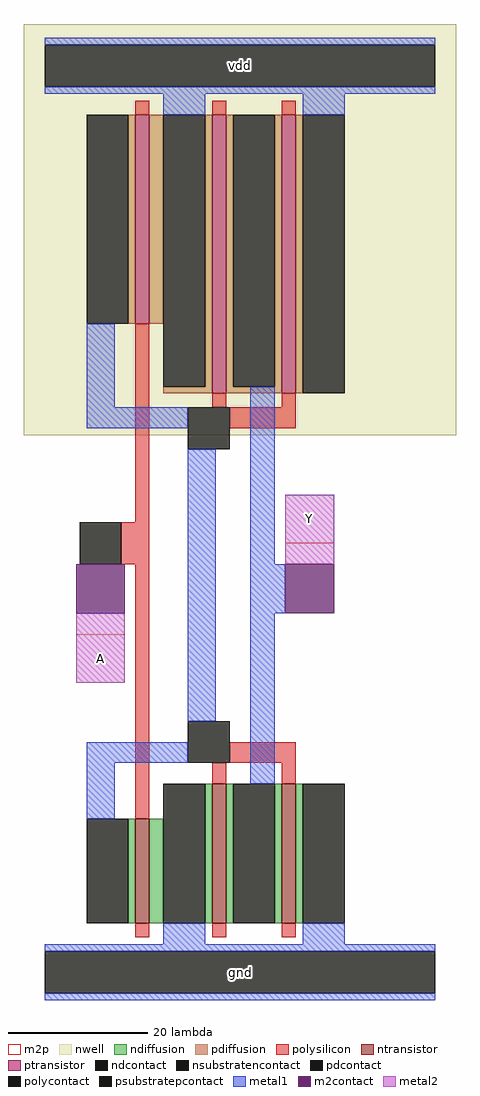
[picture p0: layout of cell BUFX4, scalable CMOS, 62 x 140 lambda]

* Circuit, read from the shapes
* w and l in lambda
.subckt BUFX4 A Y vdd gnd
M1 gnd A n1 gnd nfet w=15 l=2
M2 Y n1 gnd gnd nfet w=20 l=2 m=2
M3 vdd A n1 vdd pfet w=30 l=2
M4 Y n1 vdd vdd pfet w=40 l=2 m=2
.ends

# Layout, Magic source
magic
tech scmos
magscale 1 2
<< nwell >>
rect -12 154 112 272
<< ntransistor >>
rect 20 14 24 44
rect 42 14 46 54
rect 62 14 66 54
<< ptransistor >>
rect 20 186 24 246
rect 42 166 46 246
rect 62 166 66 246
<< ndiffusion >>
rect 18 14 20 44
rect 24 14 28 44
rect 40 14 42 54
rect 46 14 48 54
rect 60 14 62 54
rect 66 14 68 54
<< pdiffusion >>
rect 18 186 20 246
rect 24 186 28 246
rect 40 168 42 246
rect 28 166 42 168
rect 46 168 48 246
rect 60 168 62 246
rect 46 166 62 168
rect 66 166 68 246
<< ndcontact >>
rect 6 14 18 44
rect 28 14 40 54
rect 48 14 60 54
rect 68 14 80 54
<< pdcontact >>
rect 6 186 18 246
rect 28 168 40 246
rect 48 168 60 246
rect 68 166 80 246
<< psubstratepcontact >>
rect -6 -6 106 6
<< nsubstratencontact >>
rect -6 254 106 266
<< polysilicon >>
rect 20 246 24 250
rect 42 246 46 250
rect 62 246 66 250
rect 20 129 24 186
rect 42 162 46 166
rect 62 162 66 166
rect 47 156 66 162
rect 16 117 24 129
rect 20 44 24 117
rect 47 60 66 66
rect 42 54 46 60
rect 62 54 66 60
rect 20 10 24 14
rect 42 10 46 14
rect 62 10 66 14
<< polycontact >>
rect 35 150 47 162
rect 4 117 16 129
rect 35 60 47 72
<< metal1 >>
rect -6 266 106 268
rect -6 252 106 254
rect 28 246 40 252
rect 68 246 80 252
rect 6 162 14 186
rect 6 156 35 162
rect 35 72 43 150
rect 53 117 60 168
rect 53 103 63 117
rect 6 60 35 66
rect 6 44 14 60
rect 53 54 60 103
rect 28 8 40 14
rect 68 8 80 14
rect -6 6 106 8
rect -6 -8 106 -6
<< m2contact >>
rect 3 103 17 117
rect 63 103 77 117
<< metal2 >>
rect 63 117 77 137
rect 3 83 17 103
<< m2p >>
rect 63 123 77 137
rect 3 83 17 97
<< labels >>
rlabel metal2 3 83 17 97 0 A
port 0 nsew signal input
rlabel metal2 63 123 77 137 0 Y
port 1 nsew signal output
rlabel metal1 -6 252 106 268 0 vdd
port 2 nsew power bidirectional abutment
rlabel metal1 -6 -8 106 8 0 gnd
port 3 nsew ground bidirectional abutment
<< properties >>
string FIXED_BBOX 0 0 100 260
string LEFclass CORE
string LEFsite core
string LEFsymmetry X Y
<< end >>
